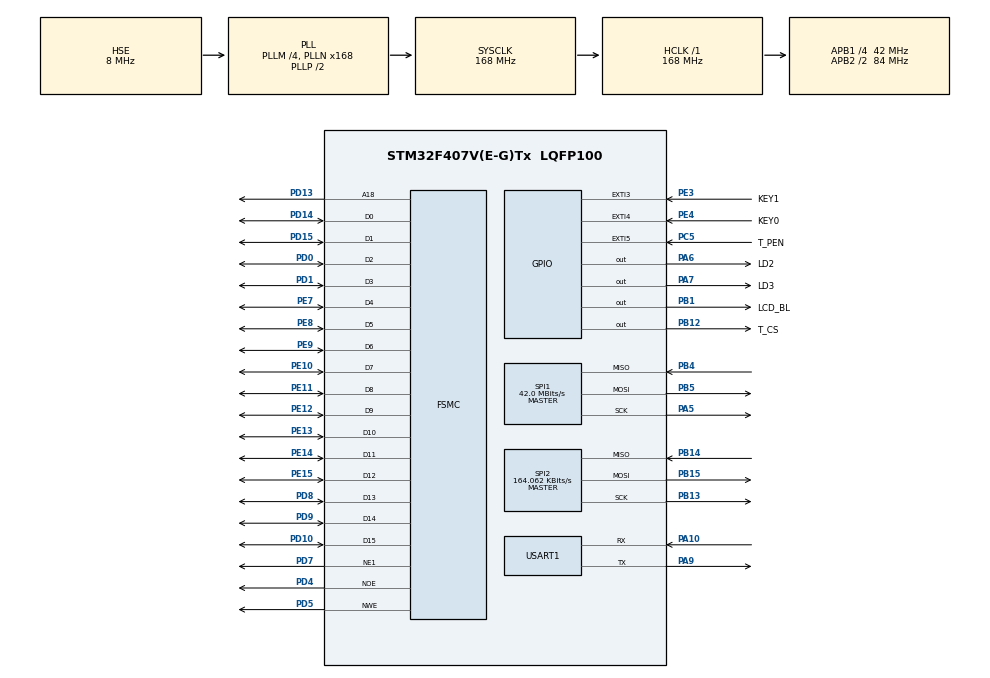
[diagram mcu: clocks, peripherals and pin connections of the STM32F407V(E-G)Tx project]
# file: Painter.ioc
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FSMC.AddressSetupTime1=1
FSMC.BusTurnAroundDuration1=0
FSMC.DataSetupTime1=5
FSMC.ExtendedMode1=FSMC_EXTENDED_MODE_DISABLE
Mcu.Family=STM32F4
Mcu.Name=STM32F407V(E-G)Tx
Mcu.Package=LQFP100
NVIC.EXTI3_IRQn=true\:0\:0\:false\:false\:true\:true\:true\:true
NVIC.EXTI4_IRQn=true\:0\:0\:false\:false\:true\:true\:true\:true
NVIC.EXTI9_5_IRQn=true\:0\:0\:false\:false\:true\:true\:true\:true
NVIC.PriorityGroup=NVIC_PRIORITYGROUP_4
NVIC.TIM6_DAC_IRQn=true\:0\:0\:false\:false\:true\:true\:true\:true
NVIC.TIM7_IRQn=true\:0\:0\:false\:false\:true\:true\:true\:true
PA10.Mode=Asynchronous
PA10.Signal=USART1_RX
PA13.Mode=Serial_Wire
PA13.Signal=SYS_JTMS-SWDIO
PA14.Mode=Serial_Wire
PA14.Signal=SYS_JTCK-SWCLK
PA5.Mode=Full_Duplex_Master
PA5.Signal=SPI1_SCK
PA6.GPIO_Label=LD2
PA6.PinState=GPIO_PIN_SET
PA6.Signal=GPIO_Output
PA7.GPIO_Label=LD3
PA7.PinState=GPIO_PIN_SET
PA7.Signal=GPIO_Output
PA9.Mode=Asynchronous
PA9.Signal=USART1_TX
PB1.GPIO_Label=LCD_BL
PB1.Signal=GPIO_Output
PB12.GPIO_Label=T_CS
PB12.GPIO_PuPd=GPIO_PULLUP
PB12.PinState=GPIO_PIN_SET
PB12.Signal=GPIO_Output
PB13.Mode=Full_Duplex_Master
PB13.Signal=SPI2_SCK
PB14.Mode=Full_Duplex_Master
PB14.Signal=SPI2_MISO
PB15.Mode=Full_Duplex_Master
PB15.Signal=SPI2_MOSI
PB4.Mode=Full_Duplex_Master
PB4.Signal=SPI1_MISO
PB5.Mode=Full_Duplex_Master
PB5.Signal=SPI1_MOSI
PC14-OSC32_IN.Mode=LSE-External-Oscillator
PC14-OSC32_IN.Signal=RCC_OSC32_IN
PC15-OSC32_OUT.Mode=LSE-External-Oscillator
PC15-OSC32_OUT.Signal=RCC_OSC32_OUT
PC5.GPIO_Label=T_PEN
PC5.GPIO_ModeDefaultEXTI=GPIO_MODE_IT_FALLING
PC5.GPIO_PuPd=GPIO_PULLUP
PC5.Signal=GPXTI5
PD0.Mode=16b-d1
PD0.Signal=FSMC_D2
PD1.Mode=16b-d1
PD1.Signal=FSMC_D3
PD10.Mode=16b-d1
PD10.Signal=FSMC_D15
PD13.Mode=A18_1
PD13.Signal=FSMC_A18
PD14.Mode=16b-d1
PD14.Signal=FSMC_D0
PD15.Mode=16b-d1
PD15.Signal=FSMC_D1
PD4.Mode=Lcd1
PD4.Signal=FSMC_NOE
PD5.Mode=Lcd1
PD5.Signal=FSMC_NWE
PD7.Mode=NorPsramChipSelect1_1
PD7.Signal=FSMC_NE1
PD8.Mode=16b-d1
PD8.Signal=FSMC_D13
PD9.Mode=16b-d1
PD9.Signal=FSMC_D14
PE10.Mode=16b-d1
PE10.Signal=FSMC_D7
PE11.Mode=16b-d1
PE11.Signal=FSMC_D8
PE12.Mode=16b-d1
PE12.Signal=FSMC_D9
PE13.Mode=16b-d1
PE13.Signal=FSMC_D10
PE14.Mode=16b-d1
PE14.Signal=FSMC_D11
PE15.Mode=16b-d1
PE15.Signal=FSMC_D12
PE3.GPIO_Label=KEY1
PE3.GPIO_ModeDefaultEXTI=GPIO_MODE_IT_FALLING
PE3.GPIO_PuPd=GPIO_PULLUP
PE3.Signal=GPXTI3
PE4.GPIO_Label=KEY0
PE4.GPIO_ModeDefaultEXTI=GPIO_MODE_IT_FALLING
PE4.GPIO_PuPd=GPIO_PULLUP
PE4.Signal=GPXTI4
PE7.Mode=16b-d1
PE7.Signal=FSMC_D4
PE8.Mode=16b-d1
PE8.Signal=FSMC_D5
PE9.Mode=16b-d1
PE9.Signal=FSMC_D6
PH0-OSC_IN.Mode=HSE-External-Oscillator
PH0-OSC_IN.Signal=RCC_OSC_IN
PH1-OSC_OUT.Mode=HSE-External-Oscillator
PH1-OSC_OUT.Signal=RCC_OSC_OUT
ProjectManager.HeapSize=0x200
ProjectManager.StackSize=0x400
ProjectManager.TargetToolchain=STM32CubeIDE
RCC.48MHZClocksFreq_Value=84000000
RCC.AHBFreq_Value=168000000
RCC.APB1CLKDivider=RCC_HCLK_DIV4
RCC.APB1Freq_Value=42000000
RCC.APB1TimFreq_Value=84000000
RCC.APB2CLKDivider=RCC_HCLK_DIV2
RCC.APB2Freq_Value=84000000
RCC.APB2TimFreq_Value=168000000
RCC.CortexFreq_Value=168000000
RCC.HCLKFreq_Value=168000000
RCC.HSE_VALUE=8000000
RCC.HSI_VALUE=16000000
RCC.PLLM=4
RCC.PLLN=168
RCC.PLLSourceVirtual=RCC_PLLSOURCE_HSE
RCC.RCC_RTC_Clock_Source=RCC_RTCCLKSOURCE_LSE
RCC.RCC_RTC_Clock_SourceVirtual=RCC_RTCCLKSOURCE_LSE
RCC.SYSCLKFreq_VALUE=168000000
RCC.SYSCLKSource=RCC_SYSCLKSOURCE_PLLCLK
RCC.VCOOutputFreq_Value=336000000
SPI1.CalculateBaudRate=42.0 MBits/s
SPI1.Direction=SPI_DIRECTION_2LINES
SPI1.Mode=SPI_MODE_MASTER
SPI1.VirtualType=VM_MASTER
SPI2.BaudRatePrescaler=SPI_BAUDRATEPRESCALER_256
SPI2.CalculateBaudRate=164.062 KBits/s
SPI2.DataSize=SPI_DATASIZE_8BIT
SPI2.Direction=SPI_DIRECTION_2LINES
SPI2.Mode=SPI_MODE_MASTER
SPI2.VirtualType=VM_MASTER
STMicroelectronics.X-CUBE-TOUCHGFX.4.21.4.tgfx_block_size=1920
STMicroelectronics.X-CUBE-TOUCHGFX.4.21.4.tgfx_buffering_strategy=Partial
STMicroelectronics.X-CUBE-TOUCHGFX.4.21.4.tgfx_custom_height=320
STMicroelectronics.X-CUBE-TOUCHGFX.4.21.4.tgfx_custom_width=240
STMicroelectronics.X-CUBE-TOUCHGFX.4.21.4.tgfx_display_interface=disp_fmc
STMicroelectronics.X-CUBE-TOUCHGFX.4.21.4.tgfx_number_of_blocks=5
STMicroelectronics.X-CUBE-TOUCHGFX.4.21.4_IsPackSelfContextualization=true
TIM6.Period=1000
TIM6.Prescaler=7999
TIM7.Period=200
TIM7.Prescaler=7999
USART1.VirtualMode=VM_ASYNC
VP_TIM6_VS_ClockSourceINT.Mode=Enable_Timer
VP_TIM7_VS_ClockSourceINT.Mode=Enable_Timer
board=custom

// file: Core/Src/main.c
/* USER CODE BEGIN Header */
/**
  ******************************************************************************
  * @file           : main.c
  * @brief          : Main program body
  ******************************************************************************
  * @attention
  *
  * Copyright (c) 2024 STMicroelectronics.
  * All rights reserved.
  *
  * This software is licensed under terms that can be found in the LICENSE file
  * in the root directory of this software component.
  * If no LICENSE file comes with this software, it is provided AS-IS.
  *
  ******************************************************************************
  */
/* USER CODE END Header */
#include "main.h"
#include "spi.h"
#include "tim.h"
#include "usart.h"
#include "gpio.h"
#include "fsmc.h"

/* USER CODE BEGIN Includes */

#include "ili9341.h"
#include "touchscreen_button.h"
#include "text_field.h"
#include "XPT2046_touch.h"

#include <stdio.h>
#include <stdbool.h>

/* USER CODE END Includes */

/* USER CODE BEGIN PD */

#define CANVAS_BOTTOM 215

/* USER CODE END PD */

/* USER CODE BEGIN PV */

const uint16_t color_line = COLOR_WHITE;
const uint16_t color_text = COLOR_WHITE;
const uint16_t color_bg = COLOR_BLACK;

const uint16_t brush_colors[] = {COLOR_RED, COLOR_ORANGE, COLOR_YELLOW,
								 COLOR_GREEN, COLOR_OLIVE, COLOR_CYAN,
								 COLOR_BLUE, COLOR_NAVY, COLOR_PURPLE,
								 COLOR_MAROON, COLOR_WHITE, COLOR_GRAY_128, COLOR_BLACK};

const uint16_t num_colors = sizeof(brush_colors);
uint16_t color_i = 0;

const uint16_t brush_radii[] = {1, 2, 3, 4, 6, 8, 10, 12};

const uint16_t num_radii = sizeof(brush_radii) / sizeof(uint16_t);
uint16_t rad_i = 0;

Button button_color_prev = {
	.x = 80, .y = 270,
	.width = 40, .height = 40,
	.font = &Font20,
	.is_pressed = false,
	.color_text = color_bg, .color_bg = color_text,
	.color_text_pressed = color_text, .color_bg_pressed = color_bg,
	.text = "<"
};

Button button_color_next = {
	.x = 130, .y = 270,
	.width = 40, .height = 40,
	.font = &Font20,
	.is_pressed = false,
	.color_text = color_bg, .color_bg = color_text,
	.color_text_pressed = color_text, .color_bg_pressed = color_bg,
	.text = ">"
};

Button button_size_dec = {
	.x = 80, .y = 220,
	.width = 40, .height = 40,
	.font = &Font20,
	.is_pressed = false,
	.color_text = color_bg, .color_bg = color_text,
	.color_text_pressed = color_text, .color_bg_pressed = color_bg,
	.text = "-"
};

Button button_size_inc = {
	.x = 130, .y = 220,
	.width = 40, .height = 40,
	.font = &Font20,
	.is_pressed = false,
	.color_text = color_bg, .color_bg = color_text,
	.color_text_pressed = color_text, .color_bg_pressed = color_bg,
	.text = "+"
};

Button button_clear = {
	.x = 180, .y = 220,
	.width = 50, .height = 40,
	.font = &Font16,
	.is_pressed = false,
	.color_text = color_bg, .color_bg = color_text,
	.color_text_pressed = color_text, .color_bg_pressed = color_bg,
	.text = "CLR"
};

TextField text_color = {
	.x = 10, .y = 275,
	.width = 60, .height = 30,
	.font = &Font16,
	.color_text = color_text, .color_bg = color_bg, .color_frame = color_bg,
	.text = "COLOR",
	.horizontal_alignment = ALIGN_END,
	.vertical_alignment = ALIGN_CENTER,
};

TextField text_size = {
	.x = 10, .y = 225,
	.width = 60, .height = 30,
	.font = &Font16,
	.color_text = color_text, .color_bg = color_bg, .color_frame = color_bg,
	.text = "SIZE",
	.horizontal_alignment = ALIGN_END,
	.vertical_alignment = ALIGN_CENTER,
};

bool debounce_flag = false;

/* USER CODE END PV */

void SystemClock_Config(void);
/* USER CODE BEGIN PFP */

void DrawSample();
void HandleSize(int change);

/* USER CODE END PFP */

/* USER CODE BEGIN 0 */

int _write(int file, char *ptr, int len)
{
	HAL_UART_Transmit(&huart1, (uint8_t *) ptr, len, HAL_MAX_DELAY);
	return len;
}

/* USER CODE END 0 */

int main(void)
{

  /* MCU Configuration--------------------------------------------------------*/

  /* Reset of all peripherals, Initializes the Flash interface and the Systick. */
  HAL_Init();

  /* Configure the system clock */
  SystemClock_Config();

  /* Initialize all configured peripherals */
  MX_GPIO_Init();
  MX_FSMC_Init();
  MX_USART1_UART_Init();
  MX_SPI2_Init();
  MX_SPI1_Init();
  MX_TIM6_Init();
  MX_TIM7_Init();
  /* USER CODE BEGIN 2 */

  printf("\nPainter initialized\r\n\n");

    // Init LCD
	lcdBacklightOn();
	lcdInit();
	lcdSetOrientation(LCD_ORIENTATION_PORTRAIT_MIRROR);
	lcdFillRGB(color_bg);
	lcdSetTextFont(&Font16);
	lcdSetTextColor(color_text, color_bg);

  Button_Draw(&button_color_next);
  Button_Draw(&button_color_prev);
  Button_Draw(&button_size_dec);
  Button_Draw(&button_size_inc);
  Button_Draw(&button_clear);
  TextField_Draw(&text_color);
  TextField_Draw(&text_size);
  lcdDrawRect(180, 270, 50, 40, color_line);
  DrawSample();

  /* USER CODE END 2 */

  /* Infinite loop */
  while (1)
  {

  }
}

void SystemClock_Config(void)
{
  RCC_OscInitTypeDef RCC_OscInitStruct = {0};
  RCC_ClkInitTypeDef RCC_ClkInitStruct = {0};

  /** Configure the main internal regulator output voltage
  */
  __HAL_RCC_PWR_CLK_ENABLE();
  __HAL_PWR_VOLTAGESCALING_CONFIG(PWR_REGULATOR_VOLTAGE_SCALE1);

  /** Initializes the RCC Oscillators according to the specified parameters
  * in the RCC_OscInitTypeDef structure.
  */
  RCC_OscInitStruct.OscillatorType = RCC_OSCILLATORTYPE_HSE;
  RCC_OscInitStruct.HSEState = RCC_HSE_ON;
  RCC_OscInitStruct.PLL.PLLState = RCC_PLL_ON;
  RCC_OscInitStruct.PLL.PLLSource = RCC_PLLSOURCE_HSE;
  RCC_OscInitStruct.PLL.PLLM = 4;
  RCC_OscInitStruct.PLL.PLLN = 168;
  RCC_OscInitStruct.PLL.PLLP = RCC_PLLP_DIV2;
  RCC_OscInitStruct.PLL.PLLQ = 4;
  if (HAL_RCC_OscConfig(&RCC_OscInitStruct) != HAL_OK)
  {
    Error_Handler();
  }

  /** Initializes the CPU, AHB and APB buses clocks
  */
  RCC_ClkInitStruct.ClockType = RCC_CLOCKTYPE_HCLK|RCC_CLOCKTYPE_SYSCLK
                              |RCC_CLOCKTYPE_PCLK1|RCC_CLOCKTYPE_PCLK2;
  RCC_ClkInitStruct.SYSCLKSource = RCC_SYSCLKSOURCE_PLLCLK;
  RCC_ClkInitStruct.AHBCLKDivider = RCC_SYSCLK_DIV1;
  RCC_ClkInitStruct.APB1CLKDivider = RCC_HCLK_DIV4;
  RCC_ClkInitStruct.APB2CLKDivider = RCC_HCLK_DIV2;

  if (HAL_RCC_ClockConfig(&RCC_ClkInitStruct, FLASH_LATENCY_5) != HAL_OK)
  {
    Error_Handler();
  }
}

/* USER CODE BEGIN 4 */

void DrawSample()
{
	lcdFillCircle(205, 290, brush_radii[num_radii - 1], color_bg);
	lcdFillCircle(205, 290, brush_radii[rad_i], brush_colors[color_i]);
}

void HandleSize(int change)
{
	if (-change > rad_i) /* Beginning boundary */
	{
		rad_i = 0;
	}
	else if (rad_i + change >= num_radii) /* End boundary */
	{
		rad_i = num_radii - 1;
	}

	else
	{
		rad_i += change;
	}
}

void  HAL_GPIO_EXTI_Callback ( uint16_t GPIO_Pin)
{
	if (GPIO_Pin == T_PEN_Pin)
	{
		if (XPT2046_TouchPressed())
		{
			HAL_TIM_Base_Start_IT(&htim6); /* Start debouncing timer */

			/* Handle button press */
			uint16_t x = 0, y = 0;
			if (!XPT2046_TouchGetCoordinates(&y, &x))
			{
				return;
			}
			y = lcdGetHeight() - y; /* The display is flipped */

			if (y < CANVAS_BOTTOM - brush_radii[rad_i]
				&& y > brush_radii[rad_i])
			{
				/* Draw on the canvas */
				lcdFillCircle(x, y, brush_radii[rad_i], brush_colors[color_i]);
				return;
			}

			if (debounce_flag)
			{
				return;
			}
			debounce_flag = true;

			if (Button_IsPressed(&button_color_next, x, y))
			{
				Button_SetState(&button_color_next, true);
				Button_Draw(&button_color_next);

				color_i = (color_i + 1) % num_colors;
				DrawSample();
			}
			else if (Button_IsPressed(&button_color_prev, x, y))
			{
				Button_SetState(&button_color_prev, true);
				Button_Draw(&button_color_prev);

				color_i = (color_i - 1) % num_colors;
				DrawSample();
			}
			else if (Button_IsPressed(&button_size_inc, x, y))
			{
				Button_SetState(&button_size_inc, true);
				Button_Draw(&button_size_inc);

				HandleSize(1);
				DrawSample();
			}
			else if (Button_IsPressed(&button_size_dec, x, y))
			{
				Button_SetState(&button_size_dec, true);
				Button_Draw(&button_size_dec);

				HandleSize(-1);
				DrawSample();
			}
			else if (Button_IsPressed(&button_clear, x, y))
			{
				Button_SetState(&button_clear, true);
				Button_Draw(&button_clear);

				lcdFillRect(0, 0, lcdGetWidth(), CANVAS_BOTTOM, color_bg);
			}
		}
		else
		{
			/* Handle button release */
			Button_SetState(&button_color_next, false);
			Button_Draw(&button_color_next);
			Button_SetState(&button_color_prev, false);
			Button_Draw(&button_color_prev);
			Button_SetState(&button_size_inc, false);
			Button_Draw(&button_size_inc);
			Button_SetState(&button_size_dec, false);
			Button_Draw(&button_size_dec);
			Button_SetState(&button_clear, false);
			Button_Draw(&button_clear);
			return;
		}
	}
}

void HAL_TIM_PeriodElapsedCallback(TIM_HandleTypeDef *htim)
{
	if (htim == &htim6)
	{
		HAL_TIM_Base_Stop_IT(&htim6);
		debounce_flag = false;
	}
}

/* USER CODE END 4 */

void Error_Handler(void)
{
  __disable_irq();
  while (1)
  {
  }
}
